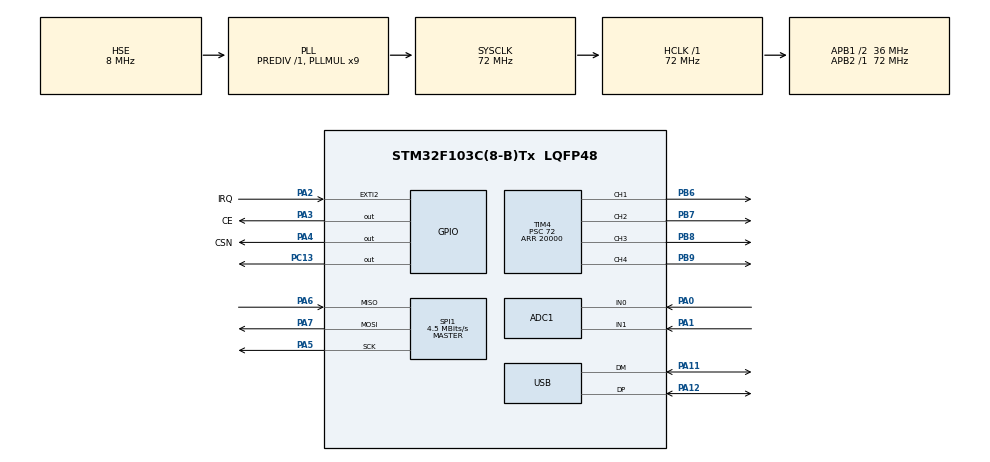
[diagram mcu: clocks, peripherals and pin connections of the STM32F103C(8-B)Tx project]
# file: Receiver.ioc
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ADC1.Channel-8\#ChannelRegularConversion=ADC_CHANNEL_0
ADC1.Channel-9\#ChannelRegularConversion=ADC_CHANNEL_1
ADC1.InjNumberOfConversion=0
ADC1.NbrOfConversion=2
ADC1.NbrOfConversionFlag=1
ADC1.Rank-8\#ChannelRegularConversion=1
ADC1.Rank-9\#ChannelRegularConversion=2
ADC1.SamplingTime-8\#ChannelRegularConversion=ADC_SAMPLETIME_7CYCLES_5
ADC1.SamplingTime-9\#ChannelRegularConversion=ADC_SAMPLETIME_7CYCLES_5
ADC1.master=1
Dma.ADC1.0.Direction=DMA_PERIPH_TO_MEMORY
Dma.ADC1.0.Instance=DMA1_Channel1
Dma.ADC1.0.MemDataAlignment=DMA_MDATAALIGN_HALFWORD
Dma.ADC1.0.MemInc=DMA_MINC_ENABLE
Dma.ADC1.0.Mode=DMA_CIRCULAR
Dma.ADC1.0.PeriphDataAlignment=DMA_PDATAALIGN_HALFWORD
Dma.ADC1.0.PeriphInc=DMA_PINC_DISABLE
Dma.ADC1.0.Priority=DMA_PRIORITY_LOW
Dma.Request0=ADC1
Mcu.Family=STM32F1
Mcu.Name=STM32F103C(8-B)Tx
Mcu.Package=LQFP48
NVIC.DMA1_Channel1_IRQn=true\:0\:0\:false\:false\:true\:false\:true
NVIC.PriorityGroup=NVIC_PRIORITYGROUP_4
NVIC.USB_LP_CAN1_RX0_IRQn=true\:0\:0\:false\:false\:true\:false\:true
PA0-WKUP.Signal=ADCx_IN0
PA1.Signal=ADCx_IN1
PA11.Mode=Device
PA11.Signal=USB_DM
PA12.Mode=Device
PA12.Signal=USB_DP
PA13.Mode=Serial_Wire
PA13.Signal=SYS_JTMS-SWDIO
PA14.Mode=Serial_Wire
PA14.Signal=SYS_JTCK-SWCLK
PA2.GPIO_Label=IRQ
PA2.GPIO_ModeDefaultEXTI=GPIO_MODE_IT_FALLING
PA2.Signal=GPXTI2
PA3.GPIO_Label=CE
PA3.Signal=GPIO_Output
PA4.GPIO_Label=CSN
PA4.Signal=GPIO_Output
PA5.Mode=Full_Duplex_Master
PA5.Signal=SPI1_SCK
PA6.Mode=Full_Duplex_Master
PA6.Signal=SPI1_MISO
PA7.Mode=Full_Duplex_Master
PA7.Signal=SPI1_MOSI
PB6.Signal=S_TIM4_CH1
PB7.Signal=S_TIM4_CH2
PB8.Signal=S_TIM4_CH3
PB9.Signal=S_TIM4_CH4
PC13-TAMPER-RTC.GPIO_ModeDefaultOutputPP=GPIO_MODE_OUTPUT_OD
PC13-TAMPER-RTC.PinState=GPIO_PIN_RESET
PC13-TAMPER-RTC.Signal=GPIO_Output
PD0-OSC_IN.Mode=HSE-External-Oscillator
PD0-OSC_IN.Signal=RCC_OSC_IN
PD1-OSC_OUT.Mode=HSE-External-Oscillator
PD1-OSC_OUT.Signal=RCC_OSC_OUT
ProjectManager.HeapSize=0x200
ProjectManager.StackSize=0x400
ProjectManager.TargetToolchain=MDK-ARM V5
RCC.ADCPresc=RCC_ADCPCLK2_DIV6
RCC.AHBFreq_Value=72000000
RCC.APB1CLKDivider=RCC_HCLK_DIV2
RCC.APB1Freq_Value=36000000
RCC.APB1TimFreq_Value=72000000
RCC.APB2Freq_Value=72000000
RCC.APB2TimFreq_Value=72000000
RCC.HCLKFreq_Value=72000000
RCC.PLLMUL=RCC_PLL_MUL9
RCC.PLLSourceVirtual=RCC_PLLSOURCE_HSE
RCC.SYSCLKFreq_VALUE=72000000
RCC.SYSCLKSource=RCC_SYSCLKSOURCE_PLLCLK
RCC.USBFreq_Value=48000000
RCC.USBPrescaler=RCC_USBCLKSOURCE_PLL_DIV1_5
SH.ADCx_IN0.0=ADC1_IN0,IN0
SH.ADCx_IN1.0=ADC1_IN1,IN1
SH.S_TIM4_CH1.0=TIM4_CH1,PWM Generation1 CH1
SH.S_TIM4_CH2.0=TIM4_CH2,PWM Generation2 CH2
SH.S_TIM4_CH3.0=TIM4_CH3,PWM Generation3 CH3
SH.S_TIM4_CH4.0=TIM4_CH4,PWM Generation4 CH4
SPI1.BaudRatePrescaler=SPI_BAUDRATEPRESCALER_16
SPI1.CalculateBaudRate=4.5 MBits/s
SPI1.Direction=SPI_DIRECTION_2LINES
SPI1.Mode=SPI_MODE_MASTER
SPI1.VirtualType=VM_MASTER
TIM4.Channel-PWM\ Generation1\ CH1=TIM_CHANNEL_1
TIM4.Channel-PWM\ Generation2\ CH2=TIM_CHANNEL_2
TIM4.Channel-PWM\ Generation3\ CH3=TIM_CHANNEL_3
TIM4.Channel-PWM\ Generation4\ CH4=TIM_CHANNEL_4
TIM4.Period=20000
TIM4.Prescaler=72
TIM4.Pulse-PWM\ Generation1\ CH1=1000
TIM4.Pulse-PWM\ Generation2\ CH2=1000
TIM4.Pulse-PWM\ Generation3\ CH3=1000
TIM4.Pulse-PWM\ Generation4\ CH4=1000
USB_DEVICE.CLASS_NAME_FS=CDC
USB_DEVICE.VirtualMode=Cdc
USB_DEVICE.VirtualModeFS=Cdc_FS
VP_USB_DEVICE_VS_USB_DEVICE_CDC_FS.Mode=CDC_FS
board=custom

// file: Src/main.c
/* USER CODE BEGIN Header */
/**
  ******************************************************************************
  * @file           : main.c
  * @brief          : Main program body
  ******************************************************************************
  * @attention
  *
  * <h2><center>&copy; Copyright (c) 2020 STMicroelectronics.
  * All rights reserved.</center></h2>
  *
  * This software component is licensed by ST under Ultimate Liberty license
  * SLA0044, the "License"; You may not use this file except in compliance with
  * the License. You may obtain a copy of the License at:
  *                             www.st.com/SLA0044
  *
  ******************************************************************************
  */
/* USER CODE END Header */

#include "main.h"
#include "usb_device.h"

/* USER CODE BEGIN Includes */
#include "usbd_cdc_if.h"
#include "radio_mod.h"
/* USER CODE END Includes */

/* USER CODE BEGIN PD */
#define SERVO_0 400
#define SERVO_90 1500
#define SERVO_180 2600

/* USER CODE END PD */

ADC_HandleTypeDef hadc1;
DMA_HandleTypeDef hdma_adc1;

SPI_HandleTypeDef hspi1;

TIM_HandleTypeDef htim4;

void SystemClock_Config(void);
static void MX_GPIO_Init(void);
static void MX_SPI1_Init(void);
static void MX_DMA_Init(void);
static void MX_ADC1_Init(void);
static void MX_TIM4_Init(void);
/* USER CODE BEGIN PFP */
void USB_Reset(void);
long map(long x, long in_min, long in_max, long out_min, long out_max);
void receive(void);
/* USER CODE END PFP */

/* USER CODE BEGIN 0 */
char str[129];
volatile uint8_t flag = 1; // для DMA
volatile uint16_t adc[2] = {0,}; // у нас два канала поэтому массив из двух элементов
const float kd = 4.33; //коэффициент  делителя напряжения для (14.3 вольт максимально)
int subtrim = 1600, sens1 = 300, sens2 = 300;
float vbat1, vbat2;
bool wing = false;
/* USER CODE END 0 */

int main(void)
{

  /* MCU Configuration--------------------------------------------------------*/

  /* Reset of all peripherals, Initializes the Flash interface and the Systick. */
  HAL_Init();

  /* USER CODE BEGIN Init */
	DWT_Init(); // счётчик для микросекундных пауз
  /* USER CODE END Init */

  /* Configure the system clock */
  SystemClock_Config();

  /* Initialize all configured peripherals */
  MX_GPIO_Init();
  MX_SPI1_Init();
  MX_USB_DEVICE_Init();
  MX_DMA_Init();
  MX_ADC1_Init();
  MX_TIM4_Init();
  /* USER CODE BEGIN 2 */

	// Запуск ШИМ
	HAL_TIM_PWM_Start_IT(&htim4, TIM_CHANNEL_1);
	HAL_TIM_PWM_Start_IT(&htim4, TIM_CHANNEL_2);
	HAL_TIM_PWM_Start_IT(&htim4, TIM_CHANNEL_3);
	HAL_TIM_PWM_Start_IT(&htim4, TIM_CHANNEL_4);

	// Yачальное положение
	if (wing){
	TIM4->CCR1 = SERVO_90 - 1100;
	TIM4->CCR2 = SERVO_90 + 1100;
	}else{
		subtrim = 700;
		TIM4->CCR1 = SERVO_90 + 300;
		TIM4->CCR2 = SERVO_90;
		TIM4->CCR4 = SERVO_90;
	}
	// Запуск АЦП1
	HAL_ADCEx_Calibration_Start(&hadc1);
	HAL_ADC_Start_DMA(&hadc1, (uint32_t*)&adc, 2);

  const uint64_t pipe1 = 0xE8E8F0F0E2LL; // адрес нашего канала

	uint8_t connected = isChipConnected(); // проверка на подключените модуля к SPI

	uint8_t res = NRF_Init(); // инициализация

/////////////////////////////// УСТАНОВКИ ////////////////////////////////
  enableAckPayload();
  setChannel(11);
  openReadingPipe(1, pipe1);
  startListening();
/////////////////////////////////////

///////////////////////////// DEBUG TERMINAL /////////////////////////////

//HAL_Delay(2000);
//char str[128] = {0,};
//snprintf(str, 64, "Connected: %s\r\n", connected ? "OK" : "NOT OK");
//CDC_Transmit_FS((unsigned char*)str, strlen(str));
//HAL_Delay(500);

//snprintf(str, 64, "Init: %s\r\n", res > 0 && res < 255 ? "OK" : "NOT OK");
//CDC_Transmit_FS((unsigned char*)str, strlen(str));

//if (res > 0 && res < 255)
//{
//	uint8_t status = get_status();
//	snprintf(str, 64, "Status: 0x%02x \r\n", status);
//	CDC_Transmit_FS((unsigned char*)str, strlen(str));
//	HAL_Delay(500);

//	status = getPALevel();
//	snprintf(str, 64, "PA_Level: 0x%02x \n", status);
//	CDC_Transmit_FS((unsigned char*)str, strlen(str));
//	HAL_Delay(500);

//	if(status == 0x00)
//	{
//		CDC_Transmit_FS((unsigned char*)"RF24_PA_MIN\r\n", strlen("RF24_PA_MIN\r\n"));
//	}
//	else if(status == 0x01)
//	{
//		CDC_Transmit_FS((unsigned char*)"RF24_PA_LOW\r\n", strlen("RF24_PA_LOW\r\n"));
//	}
//	else if(status == 0x02)
//	{
//		CDC_Transmit_FS((unsigned char*)"RF24_PA_HIGH\r\n", strlen("RF24_PA_HIGH\r\n"));
//	}
//	else if(status == 0x03)
//	{
//		CDC_Transmit_FS((unsigned char*)"RF24_PA_MAX\r\n", strlen("RF24_PA_MAX\r\n"));
//	}
//	HAL_Delay(500);
//
//	status = getChannel();
//	snprintf(str, 64, "Channel: 0x%02x № %d \r\n", status, status);
//	CDC_Transmit_FS((unsigned char*)str, strlen(str));
//	HAL_Delay(500);

//	status = getDataRate();
//	snprintf(str, 64, "Data_Rate: 0x%02x \r\n", status);
//	CDC_Transmit_FS((unsigned char*)str, strlen(str));
//	HAL_Delay(500);

//	if(status == 0x02)
//	{
//		CDC_Transmit_FS((unsigned char*)"RF24_250KBPS\r\n", strlen("RF24_250KBPS\r\n"));
//	}
//	else if(status == 0x01)
//	{
//		CDC_Transmit_FS((unsigned char*)"RF24_2MBPS\r\n", strlen("RF24_2MBPS\r\n"));
//	}
//	else
//	{
//		CDC_Transmit_FS((unsigned char*)"RF24_1MBPS\r\n", strlen("RF24_1MBPS\r\n"));
//	}
//	HAL_Delay(500);

//	status = getPayloadSize();
//	snprintf(str, 64, "Payload_Size: %d \r\n", status);
//	CDC_Transmit_FS((unsigned char*)str, strlen(str));
//	HAL_Delay(500);

//	status = getCRCLength();
//	snprintf(str, 64, "CRC_Length: 0x%02x \r\n", status);
//	CDC_Transmit_FS((unsigned char*)str, strlen(str));
//	HAL_Delay(500);

//	if(status == 0x00)
//	{
//		CDC_Transmit_FS((unsigned char*)"RF24_CRC_DISABLED\r\n", strlen("RF24_CRC_DISABLED\r\n"));
//	}
//	else if(status == 0x01)
//	{
//		CDC_Transmit_FS((unsigned char*)"RF24_CRC_8\r\n", strlen("RF24_CRC_8\r\n"));
//	}
//	else if(status == 0x02)
//	{
//		CDC_Transmit_FS((unsigned char*)"RF24_CRC_16\r\n", strlen("RF24_CRC_16\r\n"));
//	}
//	HAL_Delay(500);
//}
//else
//{
//	HAL_Delay(500);
//	snprintf(str, 64, "Module is not connected or defective");
//	CDC_Transmit_FS((unsigned char*)str, strlen(str));
//	HAL_Delay(500);
//}

/////////////////////////////////////THE END DEBUG TERMINAL///////////////////////////////////////////////////

  maskIRQ(true, true, true); // маскируем прерывания
  /* USER CODE END 2 */

  /* Infinite loop */
  /* USER CODE BEGIN WHILE */
  while (1)
  {
		receive();
    /* USER CODE END WHILE */

  }
}

void SystemClock_Config(void)
{
  RCC_OscInitTypeDef RCC_OscInitStruct = {0};
  RCC_ClkInitTypeDef RCC_ClkInitStruct = {0};
  RCC_PeriphCLKInitTypeDef PeriphClkInit = {0};

  /** Initializes the CPU, AHB and APB busses clocks
  */
  RCC_OscInitStruct.OscillatorType = RCC_OSCILLATORTYPE_HSE;
  RCC_OscInitStruct.HSEState = RCC_HSE_ON;
  RCC_OscInitStruct.HSEPredivValue = RCC_HSE_PREDIV_DIV1;
  RCC_OscInitStruct.HSIState = RCC_HSI_ON;
  RCC_OscInitStruct.PLL.PLLState = RCC_PLL_ON;
  RCC_OscInitStruct.PLL.PLLSource = RCC_PLLSOURCE_HSE;
  RCC_OscInitStruct.PLL.PLLMUL = RCC_PLL_MUL9;
  if (HAL_RCC_OscConfig(&RCC_OscInitStruct) != HAL_OK)
  {
    Error_Handler();
  }
  /** Initializes the CPU, AHB and APB busses clocks
  */
  RCC_ClkInitStruct.ClockType = RCC_CLOCKTYPE_HCLK|RCC_CLOCKTYPE_SYSCLK
                              |RCC_CLOCKTYPE_PCLK1|RCC_CLOCKTYPE_PCLK2;
  RCC_ClkInitStruct.SYSCLKSource = RCC_SYSCLKSOURCE_PLLCLK;
  RCC_ClkInitStruct.AHBCLKDivider = RCC_SYSCLK_DIV1;
  RCC_ClkInitStruct.APB1CLKDivider = RCC_HCLK_DIV2;
  RCC_ClkInitStruct.APB2CLKDivider = RCC_HCLK_DIV1;

  if (HAL_RCC_ClockConfig(&RCC_ClkInitStruct, FLASH_LATENCY_2) != HAL_OK)
  {
    Error_Handler();
  }
  PeriphClkInit.PeriphClockSelection = RCC_PERIPHCLK_ADC|RCC_PERIPHCLK_USB;
  PeriphClkInit.AdcClockSelection = RCC_ADCPCLK2_DIV6;
  PeriphClkInit.UsbClockSelection = RCC_USBCLKSOURCE_PLL_DIV1_5;
  if (HAL_RCCEx_PeriphCLKConfig(&PeriphClkInit) != HAL_OK)
  {
    Error_Handler();
  }
}

static void MX_ADC1_Init(void)
{

  ADC_ChannelConfTypeDef sConfig = {0};

  /** Common config
  */
  hadc1.Instance = ADC1;
  hadc1.Init.ScanConvMode = ADC_SCAN_ENABLE;
  hadc1.Init.ContinuousConvMode = DISABLE;
  hadc1.Init.DiscontinuousConvMode = DISABLE;
  hadc1.Init.ExternalTrigConv = ADC_SOFTWARE_START;
  hadc1.Init.DataAlign = ADC_DATAALIGN_RIGHT;
  hadc1.Init.NbrOfConversion = 2;
  if (HAL_ADC_Init(&hadc1) != HAL_OK)
  {
    Error_Handler();
  }
  /** Configure Regular Channel
  */
  sConfig.Channel = ADC_CHANNEL_0;
  sConfig.Rank = ADC_REGULAR_RANK_1;
  sConfig.SamplingTime = ADC_SAMPLETIME_7CYCLES_5;
  if (HAL_ADC_ConfigChannel(&hadc1, &sConfig) != HAL_OK)
  {
    Error_Handler();
  }
  /** Configure Regular Channel
  */
  sConfig.Channel = ADC_CHANNEL_1;
  sConfig.Rank = ADC_REGULAR_RANK_2;
  if (HAL_ADC_ConfigChannel(&hadc1, &sConfig) != HAL_OK)
  {
    Error_Handler();
  }

}

static void MX_SPI1_Init(void)
{

  /* SPI1 parameter configuration*/
  hspi1.Instance = SPI1;
  hspi1.Init.Mode = SPI_MODE_MASTER;
  hspi1.Init.Direction = SPI_DIRECTION_2LINES;
  hspi1.Init.DataSize = SPI_DATASIZE_8BIT;
  hspi1.Init.CLKPolarity = SPI_POLARITY_LOW;
  hspi1.Init.CLKPhase = SPI_PHASE_1EDGE;
  hspi1.Init.NSS = SPI_NSS_SOFT;
  hspi1.Init.BaudRatePrescaler = SPI_BAUDRATEPRESCALER_16;
  hspi1.Init.FirstBit = SPI_FIRSTBIT_MSB;
  hspi1.Init.TIMode = SPI_TIMODE_DISABLE;
  hspi1.Init.CRCCalculation = SPI_CRCCALCULATION_DISABLE;
  hspi1.Init.CRCPolynomial = 10;
  if (HAL_SPI_Init(&hspi1) != HAL_OK)
  {
    Error_Handler();
  }

}

static void MX_TIM4_Init(void)
{

  TIM_MasterConfigTypeDef sMasterConfig = {0};
  TIM_OC_InitTypeDef sConfigOC = {0};

  htim4.Instance = TIM4;
  htim4.Init.Prescaler = 72;
  htim4.Init.CounterMode = TIM_COUNTERMODE_UP;
  htim4.Init.Period = 20000;
  htim4.Init.ClockDivision = TIM_CLOCKDIVISION_DIV1;
  htim4.Init.AutoReloadPreload = TIM_AUTORELOAD_PRELOAD_DISABLE;
  if (HAL_TIM_PWM_Init(&htim4) != HAL_OK)
  {
    Error_Handler();
  }
  sMasterConfig.MasterOutputTrigger = TIM_TRGO_RESET;
  sMasterConfig.MasterSlaveMode = TIM_MASTERSLAVEMODE_DISABLE;
  if (HAL_TIMEx_MasterConfigSynchronization(&htim4, &sMasterConfig) != HAL_OK)
  {
    Error_Handler();
  }
  sConfigOC.OCMode = TIM_OCMODE_PWM1;
  sConfigOC.Pulse = 1000;
  sConfigOC.OCPolarity = TIM_OCPOLARITY_HIGH;
  sConfigOC.OCFastMode = TIM_OCFAST_DISABLE;
  if (HAL_TIM_PWM_ConfigChannel(&htim4, &sConfigOC, TIM_CHANNEL_1) != HAL_OK)
  {
    Error_Handler();
  }
  if (HAL_TIM_PWM_ConfigChannel(&htim4, &sConfigOC, TIM_CHANNEL_2) != HAL_OK)
  {
    Error_Handler();
  }
  if (HAL_TIM_PWM_ConfigChannel(&htim4, &sConfigOC, TIM_CHANNEL_3) != HAL_OK)
  {
    Error_Handler();
  }
  if (HAL_TIM_PWM_ConfigChannel(&htim4, &sConfigOC, TIM_CHANNEL_4) != HAL_OK)
  {
    Error_Handler();
  }
  HAL_TIM_MspPostInit(&htim4);

}

static void MX_DMA_Init(void)
{

  /* DMA controller clock enable */
  __HAL_RCC_DMA1_CLK_ENABLE();

  /* DMA interrupt init */
  /* DMA1_Channel1_IRQn interrupt configuration */
  HAL_NVIC_SetPriority(DMA1_Channel1_IRQn, 0, 0);
  HAL_NVIC_EnableIRQ(DMA1_Channel1_IRQn);

}

static void MX_GPIO_Init(void)
{
  GPIO_InitTypeDef GPIO_InitStruct = {0};

  /* GPIO Ports Clock Enable */
  __HAL_RCC_GPIOC_CLK_ENABLE();
  __HAL_RCC_GPIOD_CLK_ENABLE();
  __HAL_RCC_GPIOA_CLK_ENABLE();
  __HAL_RCC_GPIOB_CLK_ENABLE();

  /*Configure GPIO pin Output Level */
  HAL_GPIO_WritePin(GPIOC, GPIO_PIN_13, GPIO_PIN_RESET);

  /*Configure GPIO pin Output Level */
  HAL_GPIO_WritePin(GPIOA, CE_Pin|CSN_Pin, GPIO_PIN_RESET);

  /*Configure GPIO pin : PC13 */
  GPIO_InitStruct.Pin = GPIO_PIN_13;
  GPIO_InitStruct.Mode = GPIO_MODE_OUTPUT_OD;
  GPIO_InitStruct.Pull = GPIO_NOPULL;
  GPIO_InitStruct.Speed = GPIO_SPEED_FREQ_LOW;
  HAL_GPIO_Init(GPIOC, &GPIO_InitStruct);

  /*Configure GPIO pin : IRQ_Pin */
  GPIO_InitStruct.Pin = IRQ_Pin;
  GPIO_InitStruct.Mode = GPIO_MODE_IT_FALLING;
  GPIO_InitStruct.Pull = GPIO_NOPULL;
  HAL_GPIO_Init(IRQ_GPIO_Port, &GPIO_InitStruct);

  /*Configure GPIO pins : CE_Pin CSN_Pin */
  GPIO_InitStruct.Pin = CE_Pin|CSN_Pin;
  GPIO_InitStruct.Mode = GPIO_MODE_OUTPUT_PP;
  GPIO_InitStruct.Pull = GPIO_NOPULL;
  GPIO_InitStruct.Speed = GPIO_SPEED_FREQ_LOW;
  HAL_GPIO_Init(GPIOA, &GPIO_InitStruct);

}

/* USER CODE BEGIN 4 */
//для сброса USB
void USB_Reset(void)
{
	 GPIO_InitTypeDef GPIO_InitStruct = {0};

	 // инициализируем пин DP как выход
	 GPIO_InitStruct.Pin = GPIO_PIN_12;
	 GPIO_InitStruct.Mode = GPIO_MODE_OUTPUT_PP;
	 GPIO_InitStruct.Speed = GPIO_SPEED_FREQ_LOW;
	 HAL_GPIO_Init(GPIOA, &GPIO_InitStruct);
	 HAL_GPIO_WritePin(GPIOA, GPIO_PIN_12, GPIO_PIN_RESET); // прижимаем DP к "земле"
	 for(uint16_t i = 0; i < 2000; i++) {}; // немного ждём

	 // переинициализируем пин для работы с USB
	 GPIO_InitStruct.Mode = GPIO_MODE_INPUT;
	 GPIO_InitStruct.Pull = GPIO_NOPULL;
	 HAL_GPIO_Init(GPIOA, &GPIO_InitStruct);
	 for(uint16_t i = 0; i < 2000; i++) {}; // немного ждём
}
// изменение одного диапазона в другой
long map(long x, long in_min, long in_max, long out_min, long out_max)
{
  return (x - in_min) * (out_max - out_min) / (in_max - in_min) + out_min;
}

//вызов по завершению конвертации
void HAL_ADC_ConvCpltCallback(ADC_HandleTypeDef* hadc)
{
	if(hadc->Instance == ADC1)
	{
			flag = 1;
	}
}

//обработка приема
void receive(void)
{
	///////////////////////////////////// ПРИЁМ /////////////////////////////////////////////
	uint8_t nrf_data[32] = {0,}; // Размер буфера (32-MAX)
	static uint8_t remsg = 0;
	uint8_t pipe_num = 0;

	if(flag)
	{
		flag = 0;

		//расчёт заряда батареи1 (0 канал АЦП1)
		vbat1 = (3.3/4095)*adc[0]*kd * 10; // 3,3 В на делителе при 14,3 В, дальше делитель не имее смысла
		//расчёт заряда батареи2 (1 канал АЦП1) умножаю на 10, чтобы передать целое число
		vbat2 = (3.3/4095)*adc[1]*kd * 10; // 3,3 В на делителе при 14,3 В, дальше делитель не имее смысла

		HAL_ADC_Start_DMA(&hadc1, (uint32_t*)&adc, 2);

		adc[0] = 0;
		adc[1] = 0;
	}

	if(available(&pipe_num)) // проверяем пришло ли что-то
	{
		remsg = vbat2;

		writeAckPayload(pipe_num, &remsg, sizeof(remsg)); // отправляем полезную нагрузку вместе с подтверждением

		if(pipe_num == 0) // проверяем куда пришли данные
		{
		//	CDC_Transmit_FS((unsigned char*)"pipe 0 \r\n", strlen("pipe 0 \r\n"));
		}

		else if(pipe_num == 1)
		{
			//CDC_Transmit_FS((unsigned char*)"Pipe 1 \r\n", strlen("Pipe 1 \r\n"));

			uint8_t count = getDynamicPayloadSize(); // смотрим сколько байт прилетело

			read(&nrf_data, count); // Читаем данные в массив nrf_data и указываем сколько байт читать

			if(nrf_data[0] == 77 && nrf_data[1] == 86 && nrf_data[2] == 97) // проверяем правильность данных
			{

				// изменяя это значение, смещаем нейтральное положение
				if (nrf_data[6] == 100)
				{
					subtrim = nrf_data[7]*10; // умножаем на 10 т.к. получаем число от 1 до 255
					sens1 = nrf_data[8]*10; // умножаем на 10 т.к. получаем число от 1 до 255
					sens2 = nrf_data[9]*10; // умножаем на 10 т.к. получаем число от 1 до 255
				}

				uint16_t motor = map(nrf_data[5], 1, 255, 800, 2200);
				// Если летательное крыло
				if (wing){
				uint16_t	min = 400 + subtrim + sens1; // минимальное положение с учётом добавок
				uint16_t	max = 2600 - sens1; //вычитаем расходы

				uint16_t pitch = map(nrf_data[3], 1, 255, min, max); // 400 - 2600 крайние положения
				uint16_t roll = map(nrf_data[4], 1, 255, min, max);

			// управление сервами
			// проверка на среднее значение
			if (((400+subtrim)+((2600-(400+subtrim))/2)-100 < roll) && (roll < ((400+subtrim)+((2600-(400+subtrim))/2)+100)))
			{ // если поворотный стик на месте, то управляем стиком высоты
			TIM4->CCR1 = 3000 - pitch; // управление сервы с противоположной стороны
			TIM4->CCR2 = pitch;
			} else
				{ // иначе управляем стиком поворота
				TIM4->CCR1 = roll - 1600; // инвертирование сервы
				TIM4->CCR2 = roll;
				}
				}else{
				uint16_t pitch = map(nrf_data[3], 1, 255, SERVO_0 + sens1 + subtrim, SERVO_180 - sens1);
				uint16_t roll = map(nrf_data[4], 1, 255, SERVO_0 + sens2 + 80, SERVO_180 - sens2);//80 чтобы ровно выставить качалку
				uint16_t raw = map(nrf_data[7], 1, 255, SERVO_0 + 300, SERVO_180 - 300);

				// В отличие от крыла тут все проще, стик по X  - отвечает за крен, Y - за тангаж
				TIM4->CCR1 = pitch;	// тангаж
				TIM4->CCR2 = roll; 	// крен
				TIM4->CCR4 = raw; 	// рысканье

				snprintf(str, 128, "pitch=%d roll=%d raw=%d m=%d sb=%d sn=%d \r\n", pitch, roll, raw, motor, subtrim, sens1);
				CDC_Transmit_FS((unsigned char*)str, strlen(str));
			}
				TIM4->CCR3 = motor; // управляем мотором

//			snprintf(str, 128, "d3=%d d4=%d d5=% pitch=%d roll=%d raw=%d m=%d sb=%d sn=%d \r\n", nrf_data[3], nrf_data[4], nrf_data[5],
//			pitch, roll, raw, motor, subtrim, sens1);
//			CDC_Transmit_FS((unsigned char*)str, strlen(str));
			}

		}

	}else {
		uint32_t timme = HAL_GetTick();
		while (!available(&pipe_num))
		{ // если потеряли связь более 3с
			if(((HAL_GetTick() - timme) > 1000) && ((HAL_GetTick() - timme) < 4000)) // Проверка на связь
			{
			TIM4->CCR3 = 800; // обрубаем мотор
			HAL_GPIO_WritePin(GPIOC, GPIO_PIN_13, GPIO_PIN_SET);
			//CDC_Transmit_FS((unsigned char*)"No connection!\r\n", strlen("No connection!\r\n"));
			}else
				{
						HAL_GPIO_WritePin(GPIOC, GPIO_PIN_13, GPIO_PIN_RESET);
				}
		}
	}
}

// установка субтриммера

/* USER CODE END 4 */

void Error_Handler(void)
{
}

/************************ (C) COPYRIGHT STMicroelectronics *****END OF FILE****/
